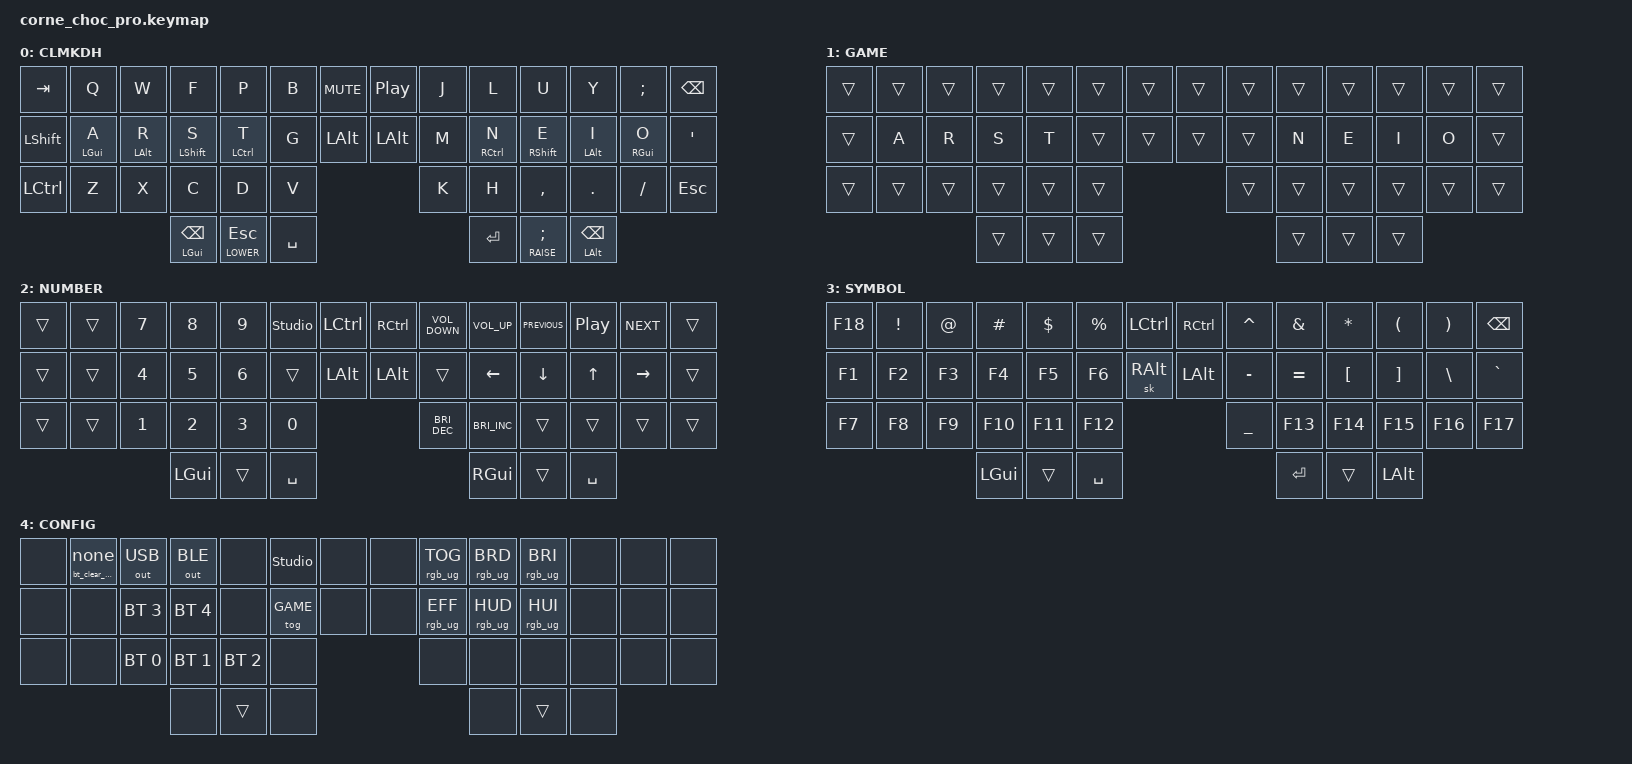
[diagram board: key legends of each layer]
/*
 * Corne Choc Pro - Colemak-DH keymap
 *
 * Single alpha layer: Colemak-DH is the only base layer.
 * Russian is handled entirely by the host OS via the Rulemak input source
 * (macOS/Linux). The same physical key matrix produces English (Colemak) or
 * Russian (Rulemak) depending on which input source is active on the host.
 *
 * Language switching is handled entirely by the host OS (e.g. Ctrl+Space).
 * No firmware-level Russian layer or language-switching logic exists.
 *
 * Requires: Rulemak keyboard layout installed on macOS/Linux.
 *   - macOS: https://github.com/nakrein/Rulemak_MacOS
 *   - Linux: xkb Rulemak variant
 */

#include <behaviors.dtsi>
#include <dt-bindings/zmk/bt.h>
#include <dt-bindings/zmk/keys.h>
#include <dt-bindings/zmk/outputs.h>
#include <dt-bindings/zmk/rgb.h>

#define GAME   1
#define LOWER  2
#define RAISE  3
#define CONFIG 4

/ {
    chosen { zmk,physical-layout = &default_layout; };
};

/ {
    behaviors {
        bt_clear_current: bluetooth_clear_current {
            compatible = "zmk,behavior-macro";
            #binding-cells = <0>;
            wait-ms = <0>;
            tap-ms = <0>;
            bindings = <&bt BT_CLR>;
            display-name = "Clear current Bluetooth profile";
        };

        bt_clear_hold: bluetooth_clear_hold {
            compatible = "zmk,behavior-hold-tap";
            #binding-cells = <2>;
            // Other key presses must not turn an accidental tap into a clear.
            flavor = "tap-preferred";
            tapping-term-ms = <1000>;
            bindings = <&bt_clear_current>, <&none>;
            display-name = "Hold to clear current Bluetooth profile";
        };

        hml: home_row_mod_left {
            compatible = "zmk,behavior-hold-tap";
            #binding-cells = <2>;
            flavor = "balanced";
            tapping-term-ms = <280>;
            quick-tap-ms = <175>;
            require-prior-idle-ms = <150>;
            bindings = <&kp>, <&kp>;
            /* Right half keys: top 7-13, home 21-27, bottom 34-39, thumbs 40-45. */
            hold-trigger-key-positions = <7 8 9 10 11 12 13 21 22 23 24 25 26 27 34 35 36 37 38 39 40 41 42 43 44 45>;
            hold-trigger-on-release;
            display-name = "Home Row Mod Left";
        };

        hmr: home_row_mod_right {
            compatible = "zmk,behavior-hold-tap";
            #binding-cells = <2>;
            flavor = "balanced";
            tapping-term-ms = <280>;
            quick-tap-ms = <175>;
            require-prior-idle-ms = <150>;
            bindings = <&kp>, <&kp>;
            /* Left half keys: top 0-6, home 14-20, bottom 28-33, thumbs 40-45. */
            hold-trigger-key-positions = <0 1 2 3 4 5 6 14 15 16 17 18 19 20 28 29 30 31 32 33 40 41 42 43 44 45>;
            hold-trigger-on-release;
            display-name = "Home Row Mod Right";
        };

    };

    conditional_layers {
        compatible = "zmk,conditional-layers";

        config_conditional {
            if-layers = <LOWER RAISE>;
            then-layer = <CONFIG>;
        };
    };

    keymap {
        compatible = "zmk,keymap";

        default_layer {
            display-name = "CLMKDH";

            // Colemak-DH — single alpha layer for both EN and RU (via host Rulemak)
            // --------------------------------------------------------------------------------
            // |  TAB |  Q  |  W  |  F  |  P  |  B  |  MUTE |  PP   |  J  |  L   |  U  |  Y  |  ;  | BSPC |
            // | SHFT | A/G | R/A | S/S | T/C |  G  |  LALT |  LALT |  M  | N/C  | E/S | I/A | O/G |  '   |
            // | CTRL |  Z  |  X  |  C  |  D  |  V  |               |  K  |  H   |  ,  |  .  |  /  | ESC  |
            //                    | GUI | LWR | SPC |               | ENT | RSE  | ALT |

            bindings = <
&kp TAB           &kp Q  &kp W  &kp F               &kp P         &kp B      &kp C_MUTE  &kp C_PP  &kp J    &kp L            &kp U               &kp Y    &kp SEMI  &kp BSPC
&kp LEFT_SHIFT    &hml LGUI A  &hml LALT R  &hml LSHFT S      &hml LCTRL T  &kp G      &kp LALT    &kp LALT  &kp M    &hmr RCTRL N    &hmr RSHFT E      &hmr LALT I  &hmr RGUI O  &kp SQT
&kp LEFT_CONTROL  &kp Z  &kp X  &kp C               &kp D         &kp V                            &kp K    &kp H            &kp COMMA           &kp DOT  &kp FSLH  &kp ESC
                                &mt LGUI BACKSPACE  &lt LOWER ESCAPE  &kp SPACE                           &kp RET  &lt RAISE SEMICOLON  &mt LALT BACKSPACE
            >;
        };

        // GAME is below the momentary layers so NUMBER/SYMBOL/CONFIG still win.
        game_layer {
            display-name = "GAME";
            // Colemak-DH without home-row mods. Transparent except home row.
            bindings = <
&trans  &trans  &trans  &trans  &trans  &trans  &trans  &trans  &trans  &trans  &trans  &trans  &trans  &trans
&trans  &kp A   &kp R   &kp S   &kp T   &trans  &trans  &trans  &trans  &kp N   &kp E   &kp I   &kp O   &trans
&trans  &trans  &trans  &trans  &trans  &trans                  &trans  &trans  &trans  &trans  &trans  &trans
                        &trans  &trans  &trans                  &trans  &trans  &trans
            >;
        };

        lower_layer {
            display-name = "NUMBER";

            // -----------------------------------------------------------------------------------------
            // |      |     |  7  |  8  |  9  | UNLK  |  LCTRL | RCTRL | VDN | VUP | PRV | PLY | NXT |      |
            // |      |     |  4  |  5  |  6  |       |  LALT  | LALT  |     | LFT | DWN |  UP | RGT |      |
            // |      |     |  1  |  2  |  3  |  0    |               | BDN | BUP |     |     |     |      |
            //                    | GUI |     | SPC   |               | GUI |     | SPC |

            bindings = <
&trans           &trans  &kp N7  &kp N8    &kp N9  &studio_unlock  &kp LCTRL  &kp RCTRL  &kp C_VOLUME_DOWN     &kp C_VOLUME_UP       &kp C_PREVIOUS  &kp C_PLAY_PAUSE  &kp C_NEXT    &trans
&trans           &trans  &kp N4  &kp N5    &kp N6  &trans          &kp LALT   &kp LALT   &trans                &kp LEFT              &kp DOWN        &kp UP            &kp RIGHT     &trans
&trans           &trans  &kp N1  &kp N2    &kp N3  &kp N0                                &kp C_BRIGHTNESS_DEC  &kp C_BRIGHTNESS_INC  &trans          &trans            &trans        &trans
                                  &kp LGUI  &trans  &kp SPACE                             &kp RGUI              &trans                &kp SPACE
            >;
        };

        raise_layer {
            display-name = "SYMBOL";

            // Left inner Alt is sticky AltGr here: hold for SYMBOL keys, or
            // tap and release SYMBOL to use an extra on the base layer.
            // Base/home-row/thumb Alt remain LALT for navigation shortcuts.
            // F13..F18 are unshifted symbol transport codes for the host map.
            // RU: top-left ё; lower right _ + « » — … (no implicit capitals).
            // Requires Linux corne:symbols or an equivalent host adapter.

            // -----------------------------------------------------------------------------------------
            // |  ~   |  !  |  @  |  #  |  $  |  %  | LCTRL | RCTRL |  ^  |  &  |  *  |  (  |  )  | BSPC |
            // |  F1  |  F2 |  F3 |  F4 |  F5 |  F6 | ALTGR | LALT  |  -  |  =  |  [  |  ]  |  \  |  `   |
            // |  F7  |  F8 |  F9 | F10 | F11 | F12 |               |  _  |  +  |  {  |  }  | "|" |  ~   |
            //                    | GUI |     | SPC |               | ENT |     | ALT |

            bindings = <
&kp F18    &kp EXCL  &kp AT  &kp HASH  &kp DLLR  &kp PRCNT  &kp LCTRL  &kp RCTRL  &kp CARET  &kp AMPS   &kp ASTRK  &kp LPAR  &kp RPAR  &kp BSPC
&kp F1     &kp F2    &kp F3  &kp F4    &kp F5    &kp F6     &sk RALT   &kp LALT   &kp MINUS  &kp EQUAL  &kp LBKT   &kp RBKT  &kp BSLH  &kp GRAVE
&kp F7     &kp F8    &kp F9  &kp F10   &kp F11   &kp F12                          &kp UNDER  &kp F13    &kp F14    &kp F15   &kp F16   &kp F17
                             &kp LGUI  &trans    &kp SPACE                        &kp RET    &trans     &kp LALT
            >;
        };

        config_layer {
            display-name = "CONFIG";

            // Hold LOWER + RAISE. Profile numbers follow NUMBER's left numpad.
            // Q: hold 1s to clear only the selected profile; a tap does nothing.
            // B: Studio unlock; G: GAME. Unused positions intentionally blocked.
            // | --- | CLR | USB | BLE | --- | STUDIO | --- | --- | RGB | BRI- | BRI+ | --- | --- | --- |
            // | --- | --- | BT4 | BT5 | --- | GAME   | --- | --- | EFF | HUE- | HUE+ | --- | --- | --- |
            // | --- | --- | BT1 | BT2 | BT3 | ---    |           | --- | ---  | ---  | --- | --- | --- |
            //                         | --- | LWR | --- |           | --- | RSE | --- |
            bindings = <
&none  &bt_clear_hold 0 0       &out OUT_USB  &out OUT_BLE  &none         &studio_unlock  &none  &none  &rgb_ug RGB_TOG  &rgb_ug RGB_BRD  &rgb_ug RGB_BRI  &none  &none  &none
&none  &none                   &bt BT_SEL 3  &bt BT_SEL 4  &none         &tog GAME       &none  &none  &rgb_ug RGB_EFF  &rgb_ug RGB_HUD  &rgb_ug RGB_HUI  &none  &none  &none
&none  &none                   &bt BT_SEL 0  &bt BT_SEL 1  &bt BT_SEL 2  &none                         &none            &none            &none            &none  &none  &none
                                                        &none  &trans  &none                         &none            &trans           &none
            >;
        };
    };
};
